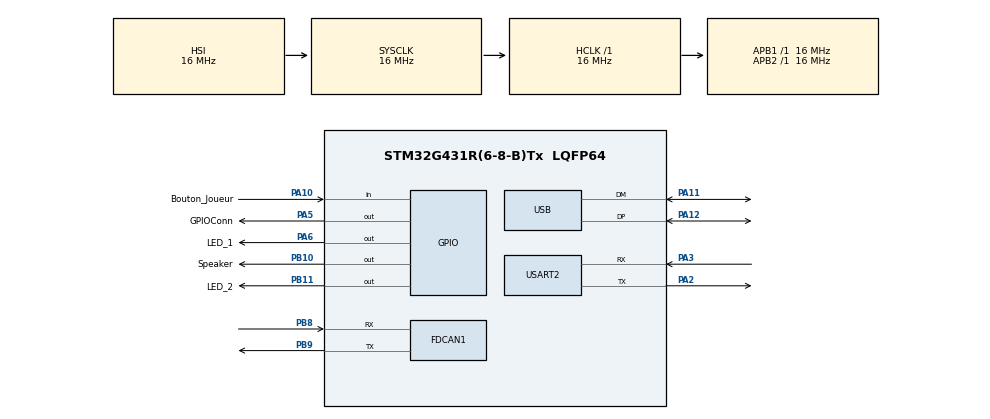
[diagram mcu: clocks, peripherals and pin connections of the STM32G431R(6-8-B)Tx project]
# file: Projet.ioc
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FDCAN1.CalculateBaudRateNominal=333333
FDCAN1.CalculateTimeBitNominal=3000
FDCAN1.CalculateTimeQuantumNominal=1000.0
Mcu.Family=STM32G4
Mcu.Name=STM32G431R(6-8-B)Tx
Mcu.Package=LQFP64
NVIC.PriorityGroup=NVIC_PRIORITYGROUP_4
NVIC.USB_LP_IRQn=true\:0\:0\:false\:false\:true\:false\:true\:true
PA10.GPIO_Label=Bouton_Joueur
PA10.Signal=GPIO_Input
PA11.Mode=Device
PA11.Signal=USB_DM
PA12.Mode=Device
PA12.Signal=USB_DP
PA13.Mode=Serial_Wire
PA13.Signal=SYS_JTMS-SWDIO
PA14.Mode=Serial_Wire
PA14.Signal=SYS_JTCK-SWCLK
PA2.Mode=Asynchronous
PA2.Signal=USART2_TX
PA3.Mode=Asynchronous
PA3.Signal=USART2_RX
PA5.GPIO_Label=GPIOConn
PA5.Signal=GPIO_Output
PA6.GPIO_Label=LED_1
PA6.Signal=GPIO_Output
PB10.GPIO_Label=Speaker
PB10.Signal=GPIO_Output
PB11.GPIO_Label=LED_2
PB11.Signal=GPIO_Output
PB8-BOOT0.Mode=FDCAN_Activate
PB8-BOOT0.Signal=FDCAN1_RX
PB9.Mode=FDCAN_Activate
PB9.Signal=FDCAN1_TX
PC14-OSC32_IN.Mode=LSE-External-Oscillator
PC14-OSC32_IN.Signal=RCC_OSC32_IN
PC15-OSC32_OUT.Mode=LSE-External-Oscillator
PC15-OSC32_OUT.Signal=RCC_OSC32_OUT
PF0-OSC_IN.Mode=HSE-External-Oscillator
PF0-OSC_IN.Signal=RCC_OSC_IN
PF1-OSC_OUT.Mode=HSE-External-Oscillator
PF1-OSC_OUT.Signal=RCC_OSC_OUT
ProjectManager.HeapSize=0x200
ProjectManager.StackSize=0x400
ProjectManager.TargetToolchain=STM32CubeIDE
RCC.AHBFreq_Value=16000000
RCC.APB1Freq_Value=16000000
RCC.APB1TimFreq_Value=16000000
RCC.APB2Freq_Value=16000000
RCC.APB2TimFreq_Value=16000000
RCC.CortexFreq_Value=16000000
RCC.EXTERNAL_CLOCK_VALUE=12288000
RCC.HCLKFreq_Value=16000000
RCC.HSE_VALUE=8000000
RCC.HSI48_VALUE=48000000
RCC.HSI_VALUE=16000000
RCC.PLLN=12
RCC.PLLQ=RCC_PLLQ_DIV4
RCC.SYSCLKFreq_VALUE=16000000
RCC.USBFreq_Value=48000000
RCC.VCOOutputFreq_Value=192000000
USART2.VirtualMode-Asynchronous=VM_ASYNC
USB_DEVICE.CLASS_NAME_FS=HID
USB_DEVICE.VirtualMode=Hid
USB_DEVICE.VirtualModeFS=Hid_FS
VP_RTC_VS_RTC_Activate.Mode=RTC_Enabled
VP_RTC_VS_RTC_Calendar.Mode=RTC_Calendar
VP_SYS_VS_DBSignals.Mode=DisableDeadBatterySignals
VP_USB_DEVICE_VS_USB_DEVICE_HID_FS.Mode=HID_FS
board=custom

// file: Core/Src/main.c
/* USER CODE BEGIN Header */
/**
  ******************************************************************************
  * @file           : main.c
  * @brief          : Main program body
  ******************************************************************************
  * @attention
  *
  * Copyright (c) 2026 STMicroelectronics.
  * All rights reserved.
  *
  * This software is licensed under terms that can be found in the LICENSE file
  * in the root directory of this software component.
  * If no LICENSE file comes with this software, it is provided AS-IS.
  *
  ******************************************************************************
  */
/* USER CODE END Header */
#include "main.h"
#include "usb_device.h"

/* USER CODE BEGIN Includes */
#include "usbd_hid.h"
#include <stdio.h>
#include <stdlib.h>
#include <string.h>
/* USER CODE END Includes */

FDCAN_HandleTypeDef hfdcan1;

RTC_HandleTypeDef hrtc;

UART_HandleTypeDef huart2;

/* USER CODE BEGIN PV */
extern USBD_HandleTypeDef hUsbDeviceFS;

//Variables FDCAN
FDCAN_FilterTypeDef sFilterConfig;
FDCAN_TxHeaderTypeDef TxHeader;
FDCAN_RxHeaderTypeDef RxHeader;
uint8_t TxData[8];
uint8_t RxData[8];

RTC_TimeTypeDef rtc_time;

//Variables pour le mode multijoueur
uint8_t system_blocked = 0;
uint32_t last_block_time = 0;
char UART_buf[60];
/* USER CODE END PV */

void SystemClock_Config(void);
static void MX_GPIO_Init(void);
static void MX_FDCAN1_Init(void);
static void MX_USART2_UART_Init(void);
static void MX_RTC_Init(void);
/* USER CODE BEGIN PFP */
void initFilter(void);
uint32_t generateRandomStdId(void);
void generateStdIdHeader(FDCAN_TxHeaderTypeDef *pHeader);
void initpHeader(FDCAN_TxHeaderTypeDef *pHeader, uint32_t DLC);
void send_spacebar(void);
/* USER CODE END PFP */

/* USER CODE BEGIN 0 */

//Fonction pour mettre la vidéo/son en pause via USB (clavier HID)

void send_spacebar(void) {
    uint8_t hid_report[4] = {0};

    //Appui sur la touche Espace (code HID:0x2C)
    hid_report[2] = 0x2C;
    USBD_HID_SendReport(&hUsbDeviceFS, hid_report, sizeof(hid_report));

    HAL_Delay(30); //Petit délai pour simuler un vrai doigt

    //Relâcher la touche
    hid_report[2] = 0x00;
    USBD_HID_SendReport(&hUsbDeviceFS, hid_report, sizeof(hid_report));
}

// Initialisation du filtre FDCAN
void initFilter(void) {
    sFilterConfig.IdType = FDCAN_STANDARD_ID;
    sFilterConfig.FilterIndex = 0;
    sFilterConfig.FilterType = FDCAN_FILTER_MASK;
    sFilterConfig.FilterConfig = FDCAN_FILTER_TO_RXFIFO0;
    sFilterConfig.FilterID1 = 0x000;
    sFilterConfig.FilterID2 = 0x000;

    HAL_FDCAN_ConfigFilter(&hfdcan1, &sFilterConfig);
}

uint32_t generateRandomStdId() {
    RTC_DateTypeDef rtc_date;

    HAL_RTC_GetTime(&hrtc, &rtc_time, RTC_FORMAT_BIN);
    HAL_RTC_GetDate(&hrtc, &rtc_date, RTC_FORMAT_BIN);

    // Création d'une seed basée sur le temps
    uint32_t seed = rtc_time.Hours * 3600 + rtc_time.Minutes * 60 + rtc_time.Seconds + rtc_time.SubSeconds;
    srand(seed);

    uint32_t randomBits = rand() & 0xFFFFFFF;
    uint32_t lowerBits = 0x5;
    uint32_t stdId = (randomBits << 4) | lowerBits;

    return stdId & 0x7FF; //Masque pour rester sur 11 bits (standard ID)
}

void generateStdIdHeader(FDCAN_TxHeaderTypeDef *pHeader) {
    pHeader->Identifier = generateRandomStdId();
}

void initpHeader(FDCAN_TxHeaderTypeDef *pHeader, uint32_t DLC) {
    pHeader->Identifier = generateRandomStdId();
    pHeader->IdType = FDCAN_STANDARD_ID;
    pHeader->TxFrameType = FDCAN_DATA_FRAME;
    pHeader->DataLength = FDCAN_DLC_BYTES_2;
    pHeader->ErrorStateIndicator = FDCAN_ESI_ACTIVE;
    pHeader->BitRateSwitch = FDCAN_BRS_OFF;
    pHeader->FDFormat = FDCAN_CLASSIC_CAN;
    pHeader->TxEventFifoControl = FDCAN_NO_TX_EVENTS;
    pHeader->MessageMarker = 0;
}

// Callback lors de la réception d'un message FDCAN (un adversaire a buzzé)
void HAL_FDCAN_RxFifo0Callback(FDCAN_HandleTypeDef *hfdcan, uint32_t RxFifo0ITs)
{
  if ((RxFifo0ITs & FDCAN_IT_RX_FIFO0_NEW_MESSAGE) != RESET)
  {
      if (HAL_FDCAN_GetRxMessage(hfdcan, FDCAN_RX_FIFO0, &RxHeader, RxData) == HAL_OK)
      {
          //Quelqu'un a buzzé
          system_blocked = 1;
          last_block_time = HAL_GetTick();

          send_spacebar();

          HAL_UART_Transmit(&huart2, (unsigned char*)UART_buf, strlen(UART_buf), 100);
      }
  }
}
/* USER CODE END 0 */

int main(void)
{

  /* USER CODE BEGIN 1 */
  uint8_t prev_bouton_etat = GPIO_PIN_SET;
  uint8_t active_bouton = GPIO_PIN_SET;
  /* USER CODE END 1 */

  /* MCU Configuration--------------------------------------------------------*/

  /* Reset of all peripherals, Initializes the Flash interface and the Systick. */
  HAL_Init();

  /* Configure the system clock */
  SystemClock_Config();

  /* Initialize all configured peripherals */
  MX_GPIO_Init();
  MX_FDCAN1_Init();
  MX_USART2_UART_Init();
  MX_USB_Device_Init();
  MX_RTC_Init();
  /* USER CODE BEGIN 2 */
  //Extinction forcée au démarrage (LEDs et buzzer)
  HAL_GPIO_WritePin(GPIOA, GPIO_PIN_5 | GPIO_PIN_6, GPIO_PIN_RESET);
  HAL_GPIO_WritePin(GPIOB, GPIO_PIN_10 | GPIO_PIN_11, GPIO_PIN_RESET);

  initFilter();
  initpHeader(&TxHeader, 2);

  // Lancement du FDCAN
  HAL_FDCAN_Start(&hfdcan1);
  HAL_FDCAN_ActivateNotification(&hfdcan1, FDCAN_IT_RX_FIFO0_NEW_MESSAGE, 0);

  HAL_UART_Transmit(&huart2, (unsigned char*)UART_buf, strlen(UART_buf), HAL_MAX_DELAY);
  /* USER CODE END 2 */

  /* Infinite loop */
  /* USER CODE BEGIN WHILE */
  while (1)
  {
      if (system_blocked && (HAL_GetTick() - last_block_time > 3000)) {
          system_blocked = 0;
      }

      if (!system_blocked)
      {
          active_bouton = HAL_GPIO_ReadPin(GPIOA, GPIO_PIN_10);

          if(active_bouton == GPIO_PIN_RESET && prev_bouton_etat == GPIO_PIN_SET)
          {

              send_spacebar();

              //On bloque les autres sur le réseau CAN
              HAL_FDCAN_AddMessageToTxFifoQ(&hfdcan1, &TxHeader, TxData);

              //On allume la LED (PA6) et le buzzer (PB10)
              HAL_GPIO_WritePin(GPIOA, GPIO_PIN_6, GPIO_PIN_SET);
              HAL_GPIO_WritePin(GPIOB, GPIO_PIN_10, GPIO_PIN_SET);

              HAL_UART_Transmit(&huart2, (unsigned char*)UART_buf, strlen(UART_buf), HAL_MAX_DELAY);

              //Victoire pendant 3 secondes
              HAL_Delay(3000);

              HAL_GPIO_WritePin(GPIOA, GPIO_PIN_6, GPIO_PIN_RESET);
              HAL_GPIO_WritePin(GPIOB, GPIO_PIN_10, GPIO_PIN_RESET);

              //On prépare un nouvel ID
              generateStdIdHeader(&TxHeader);
              system_blocked = 0;
          }
          prev_bouton_etat = active_bouton;
      }
    /* USER CODE END WHILE */

  }
}

void SystemClock_Config(void)
{
  RCC_OscInitTypeDef RCC_OscInitStruct = {0};
  RCC_ClkInitTypeDef RCC_ClkInitStruct = {0};

  /** Configure the main internal regulator output voltage
  */
  HAL_PWREx_ControlVoltageScaling(PWR_REGULATOR_VOLTAGE_SCALE1);

  /** Initializes the RCC Oscillators according to the specified parameters
  * in the RCC_OscInitTypeDef structure.
  */
  RCC_OscInitStruct.OscillatorType = RCC_OSCILLATORTYPE_HSI|RCC_OSCILLATORTYPE_LSI;
  RCC_OscInitStruct.HSIState = RCC_HSI_ON;
  RCC_OscInitStruct.HSICalibrationValue = RCC_HSICALIBRATION_DEFAULT;
  RCC_OscInitStruct.LSIState = RCC_LSI_ON;
  RCC_OscInitStruct.PLL.PLLState = RCC_PLL_ON;
  RCC_OscInitStruct.PLL.PLLSource = RCC_PLLSOURCE_HSI;
  RCC_OscInitStruct.PLL.PLLM = RCC_PLLM_DIV1;
  RCC_OscInitStruct.PLL.PLLN = 12;
  RCC_OscInitStruct.PLL.PLLP = RCC_PLLP_DIV2;
  RCC_OscInitStruct.PLL.PLLQ = RCC_PLLQ_DIV4;
  RCC_OscInitStruct.PLL.PLLR = RCC_PLLR_DIV2;
  if (HAL_RCC_OscConfig(&RCC_OscInitStruct) != HAL_OK)
  {
    Error_Handler();
  }

  /** Initializes the CPU, AHB and APB buses clocks
  */
  RCC_ClkInitStruct.ClockType = RCC_CLOCKTYPE_HCLK|RCC_CLOCKTYPE_SYSCLK
                              |RCC_CLOCKTYPE_PCLK1|RCC_CLOCKTYPE_PCLK2;
  RCC_ClkInitStruct.SYSCLKSource = RCC_SYSCLKSOURCE_HSI;
  RCC_ClkInitStruct.AHBCLKDivider = RCC_SYSCLK_DIV1;
  RCC_ClkInitStruct.APB1CLKDivider = RCC_HCLK_DIV1;
  RCC_ClkInitStruct.APB2CLKDivider = RCC_HCLK_DIV1;

  if (HAL_RCC_ClockConfig(&RCC_ClkInitStruct, FLASH_LATENCY_0) != HAL_OK)
  {
    Error_Handler();
  }
}

static void MX_FDCAN1_Init(void)
{

  hfdcan1.Instance = FDCAN1;
  hfdcan1.Init.ClockDivider = FDCAN_CLOCK_DIV1;
  hfdcan1.Init.FrameFormat = FDCAN_FRAME_CLASSIC;
  hfdcan1.Init.Mode = FDCAN_MODE_NORMAL;
  hfdcan1.Init.AutoRetransmission = DISABLE;
  hfdcan1.Init.TransmitPause = DISABLE;
  hfdcan1.Init.ProtocolException = DISABLE;
  hfdcan1.Init.NominalPrescaler = 16;
  hfdcan1.Init.NominalSyncJumpWidth = 1;
  hfdcan1.Init.NominalTimeSeg1 = 1;
  hfdcan1.Init.NominalTimeSeg2 = 1;
  hfdcan1.Init.DataPrescaler = 1;
  hfdcan1.Init.DataSyncJumpWidth = 1;
  hfdcan1.Init.DataTimeSeg1 = 1;
  hfdcan1.Init.DataTimeSeg2 = 1;
  hfdcan1.Init.StdFiltersNbr = 0;
  hfdcan1.Init.ExtFiltersNbr = 0;
  hfdcan1.Init.TxFifoQueueMode = FDCAN_TX_FIFO_OPERATION;
  if (HAL_FDCAN_Init(&hfdcan1) != HAL_OK)
  {
    Error_Handler();
  }

}

static void MX_RTC_Init(void)
{

  RTC_TimeTypeDef sTime = {0};
  RTC_DateTypeDef sDate = {0};

  /** Initialize RTC Only
  */
  hrtc.Instance = RTC;
  hrtc.Init.HourFormat = RTC_HOURFORMAT_24;
  hrtc.Init.AsynchPrediv = 127;
  hrtc.Init.SynchPrediv = 255;
  hrtc.Init.OutPut = RTC_OUTPUT_DISABLE;
  hrtc.Init.OutPutRemap = RTC_OUTPUT_REMAP_NONE;
  hrtc.Init.OutPutPolarity = RTC_OUTPUT_POLARITY_HIGH;
  hrtc.Init.OutPutType = RTC_OUTPUT_TYPE_OPENDRAIN;
  hrtc.Init.OutPutPullUp = RTC_OUTPUT_PULLUP_NONE;
  if (HAL_RTC_Init(&hrtc) != HAL_OK)
  {
    Error_Handler();
  }

  /** Initialize RTC and set the Time and Date
  */
  sTime.Hours = 0x0;
  sTime.Minutes = 0x0;
  sTime.Seconds = 0x0;
  sTime.SubSeconds = 0x0;
  sTime.DayLightSaving = RTC_DAYLIGHTSAVING_NONE;
  sTime.StoreOperation = RTC_STOREOPERATION_RESET;
  if (HAL_RTC_SetTime(&hrtc, &sTime, RTC_FORMAT_BCD) != HAL_OK)
  {
    Error_Handler();
  }
  sDate.WeekDay = RTC_WEEKDAY_MONDAY;
  sDate.Month = RTC_MONTH_JANUARY;
  sDate.Date = 0x1;
  sDate.Year = 0x0;

  if (HAL_RTC_SetDate(&hrtc, &sDate, RTC_FORMAT_BCD) != HAL_OK)
  {
    Error_Handler();
  }

}

static void MX_USART2_UART_Init(void)
{

  huart2.Instance = USART2;
  huart2.Init.BaudRate = 115200;
  huart2.Init.WordLength = UART_WORDLENGTH_8B;
  huart2.Init.StopBits = UART_STOPBITS_1;
  huart2.Init.Parity = UART_PARITY_NONE;
  huart2.Init.Mode = UART_MODE_TX_RX;
  huart2.Init.HwFlowCtl = UART_HWCONTROL_NONE;
  huart2.Init.OverSampling = UART_OVERSAMPLING_16;
  huart2.Init.OneBitSampling = UART_ONE_BIT_SAMPLE_DISABLE;
  huart2.Init.ClockPrescaler = UART_PRESCALER_DIV1;
  huart2.AdvancedInit.AdvFeatureInit = UART_ADVFEATURE_NO_INIT;
  if (HAL_UART_Init(&huart2) != HAL_OK)
  {
    Error_Handler();
  }
  if (HAL_UARTEx_SetTxFifoThreshold(&huart2, UART_TXFIFO_THRESHOLD_1_8) != HAL_OK)
  {
    Error_Handler();
  }
  if (HAL_UARTEx_SetRxFifoThreshold(&huart2, UART_RXFIFO_THRESHOLD_1_8) != HAL_OK)
  {
    Error_Handler();
  }
  if (HAL_UARTEx_DisableFifoMode(&huart2) != HAL_OK)
  {
    Error_Handler();
  }

}

static void MX_GPIO_Init(void)
{
  GPIO_InitTypeDef GPIO_InitStruct = {0};

  /* GPIO Ports Clock Enable */
  __HAL_RCC_GPIOC_CLK_ENABLE();
  __HAL_RCC_GPIOF_CLK_ENABLE();
  __HAL_RCC_GPIOA_CLK_ENABLE();
  __HAL_RCC_GPIOB_CLK_ENABLE();

  /*Configure GPIO pin Output Level */
  HAL_GPIO_WritePin(GPIOA, GPIOConn_Pin|LED_1_Pin, GPIO_PIN_RESET);

  /*Configure GPIO pin Output Level */
  HAL_GPIO_WritePin(GPIOB, Speaker_Pin|LED_2_Pin, GPIO_PIN_RESET);

  /*Configure GPIO pins : GPIOConn_Pin LED_1_Pin */
  GPIO_InitStruct.Pin = GPIOConn_Pin|LED_1_Pin;
  GPIO_InitStruct.Mode = GPIO_MODE_OUTPUT_PP;
  GPIO_InitStruct.Pull = GPIO_NOPULL;
  GPIO_InitStruct.Speed = GPIO_SPEED_FREQ_LOW;
  HAL_GPIO_Init(GPIOA, &GPIO_InitStruct);

  /*Configure GPIO pins : Speaker_Pin LED_2_Pin */
  GPIO_InitStruct.Pin = Speaker_Pin|LED_2_Pin;
  GPIO_InitStruct.Mode = GPIO_MODE_OUTPUT_PP;
  GPIO_InitStruct.Pull = GPIO_NOPULL;
  GPIO_InitStruct.Speed = GPIO_SPEED_FREQ_LOW;
  HAL_GPIO_Init(GPIOB, &GPIO_InitStruct);

  /*Configure GPIO pin : Bouton_Joueur_Pin */
  GPIO_InitStruct.Pin = Bouton_Joueur_Pin;
  GPIO_InitStruct.Mode = GPIO_MODE_INPUT;
  GPIO_InitStruct.Pull = GPIO_NOPULL;
  HAL_GPIO_Init(Bouton_Joueur_GPIO_Port, &GPIO_InitStruct);

}

void Error_Handler(void)
{
  __disable_irq();
  while (1)
  {
  }
}
